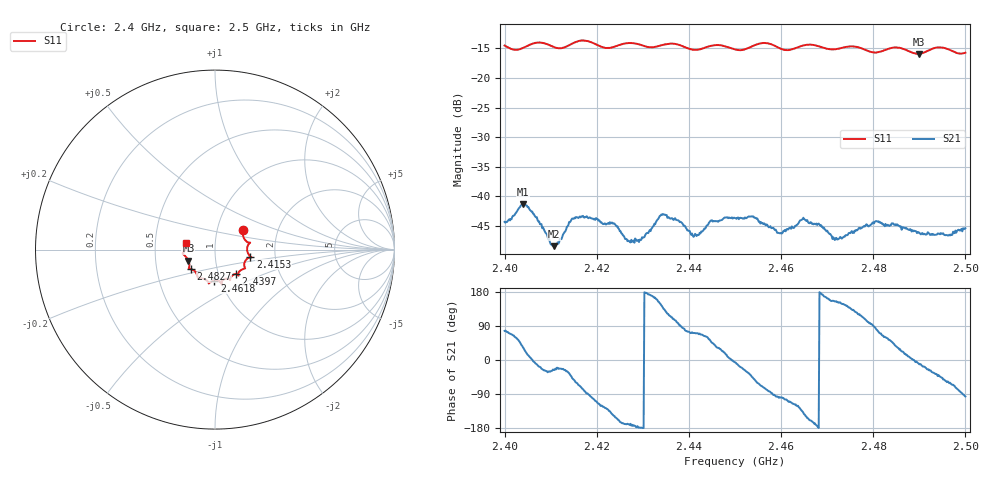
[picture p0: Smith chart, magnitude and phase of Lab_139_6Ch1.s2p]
# Hz S RI R 50
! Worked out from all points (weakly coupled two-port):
!   601 points, 2.4 GHz to 2.5 GHz, reference 50 ohm
!   highest |S21| = -41.32 dB at 2.404 GHz (marker M1); lowest = -48.4 dB at 2.4107 GHz (marker M2)
!   lowest |S11| = -15.9 dB at 2.4898 GHz (marker M3), VSWR 1.38, Z = 36.9 - j4.62 ohm
!   |S11| at or under -10 dB: start of sweep to end of sweep
!   S12 and S22 are empty: the file has one direction only
!   S11 on the Smith chart (normalised r, x): 2.4 GHz: 1.33, +0.29; 2.4153 GHz: 1.49, -0.12; 2.4397 GHz: 1.21, -0.34; 2.4618 GHz: 0.94, -0.33; 2.4827 GHz: 0.75, -0.17; 2.5 GHz: 0.72, +0.06
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2.4e9  0.1552 0.1067  0.00139 0.00592  0 0  0 0
2.404e9  0.1734 0.0472  0.0072 0.00468  0 0  0 0
2.410667e9  0.1819 0.0195  0.00341 -0.00167  0 0  0 0
2.415333e9  0.1972 -0.039  0.00351 -0.00551  0 0  0 0
2.416667e9  0.2032 -0.0432  0.00197 -0.00647  0 0  0 0
2.423667e9  0.1627 -0.0846  -0.00495 -0.00321  0 0  0 0
2.427667e9  0.1677 -0.1044  -0.00408 -0.000651  0 0  0 0
2.433333e9  0.1294 -0.1338  -0.0058 0.0028  0 0  0 0
2.434667e9  0.1289 -0.1425  -0.0048 0.00508  0 0  0 0
2.439667e9  0.1166 -0.1357  0.00133 0.00498  0 0  0 0
2.4415e9  0.0995 -0.1417  0.00161 0.00447  0 0  0 0
2.444833e9  0.0841 -0.1676  0.00422 0.00463  0 0  0 0
2.45e9  0.0654 -0.162  0.00652 -0.000681  0 0  0 0
2.454e9  0.036 -0.1842  0.00446 -0.00509  0 0  0 0
2.459667e9  0.0247 -0.1772  -0.000693 -0.00483  0 0  0 0
2.461833e9  -0.00314 -0.173  -0.00181 -0.00513  0 0  0 0
2.466667e9  -0.0349 -0.1881  -0.00557 -0.00186  0 0  0 0
2.472e9  -0.0702 -0.1612  -0.00404 0.00188  0 0  0 0
2.482667e9  -0.1348 -0.1088  0.00294 0.00506  0 0  0 0
2.483333e9  -0.1401 -0.1084  0.00338 0.00456  0 0  0 0
2.489833e9  -0.1481 -0.061  0.00493 -0.00079  0 0  0 0
2.5e9  -0.1594 0.0385  -0.00059 -0.00535  0 0  0 0
